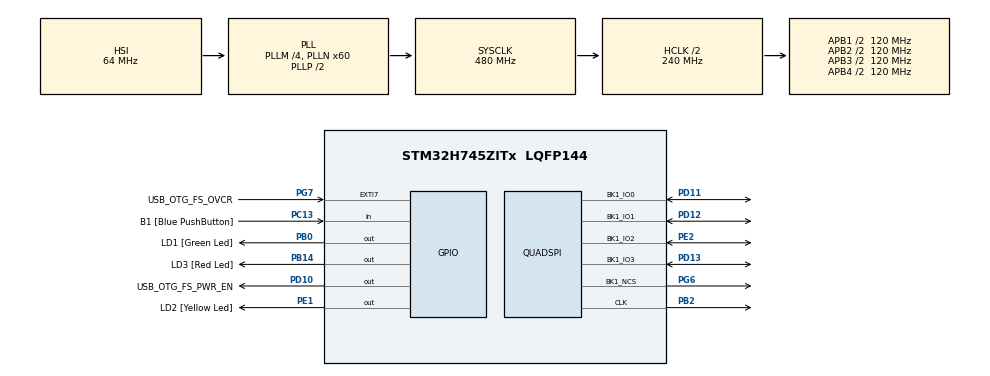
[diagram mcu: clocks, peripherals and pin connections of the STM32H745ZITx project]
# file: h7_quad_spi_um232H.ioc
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CortexM4.IPs=FATFS_M4\:I,FREERTOS_M4\:I,IWDG2\:I,RCC,WWDG2\:I,DMA,BDMA,MDMA,NVIC2\:I,USART3,ETH,DEBUG,PDM2PCM_M4\:I,PWR,RESMGR_UTILITY,SYS_M4\:I,USB_DEVICE_M4\:I,USB_HOST_M4\:I,CORTEX_M4\:I,OPENAMP_M4\:I,VREFBUF
CortexM7.IPs=FATFS_M7\:I,FREERTOS_M7\:I,IWDG1\:I,RCC\:I,WWDG1\:I,DMA\:I,BDMA\:I,MDMA\:I,NVIC1\:I,SYS\:I,USART3\:I,USB_OTG_FS\:I,ETH\:I,CORTEX_M7\:I,DEBUG\:I,PDM2PCM_M7\:I,PWR\:I,RESMGR_UTILITY\:I,USB_DEVICE_M7\:I,USB_HOST_M7\:I,OPENAMP_M7\:I,VREFBUF\:I,QUADSPI\:I
Mcu.Family=STM32H7
Mcu.Name=STM32H745ZITx
Mcu.Package=LQFP144
Mdma.MDMA_Channel0.QUADSPI_FIFO_TH.0.BlockCount=0
Mdma.MDMA_Channel0.QUADSPI_FIFO_TH.0.BlockDataLength=0
Mdma.MDMA_Channel0.QUADSPI_FIFO_TH.0.BufferTransferLength=1
Mdma.MDMA_Channel0.QUADSPI_FIFO_TH.0.CircularMode=MDMA_LINEAR_LIST
Mdma.MDMA_Channel0.QUADSPI_FIFO_TH.0.DataAlignment=MDMA_DATAALIGN_PACKENABLE
Mdma.MDMA_Channel0.QUADSPI_FIFO_TH.0.DestBlockAddressOffset=0
Mdma.MDMA_Channel0.QUADSPI_FIFO_TH.0.DestBurst=MDMA_DEST_BURST_SINGLE
Mdma.MDMA_Channel0.QUADSPI_FIFO_TH.0.DestDataSize=MDMA_DEST_DATASIZE_BYTE
Mdma.MDMA_Channel0.QUADSPI_FIFO_TH.0.DestinationInc=MDMA_DEST_INC_DISABLE
Mdma.MDMA_Channel0.QUADSPI_FIFO_TH.0.DstAddress=0
Mdma.MDMA_Channel0.QUADSPI_FIFO_TH.0.Endianness=MDMA_LITTLE_ENDIANNESS_PRESERVE
Mdma.MDMA_Channel0.QUADSPI_FIFO_TH.0.Instance=MDMA_Channel0
Mdma.MDMA_Channel0.QUADSPI_FIFO_TH.0.MaskAddress=0
Mdma.MDMA_Channel0.QUADSPI_FIFO_TH.0.MaskData=0
Mdma.MDMA_Channel0.QUADSPI_FIFO_TH.0.Priority=MDMA_PRIORITY_HIGH
Mdma.MDMA_Channel0.QUADSPI_FIFO_TH.0.Rank=First
Mdma.MDMA_Channel0.QUADSPI_FIFO_TH.0.SourceBlockAddressOffset=0
Mdma.MDMA_Channel0.QUADSPI_FIFO_TH.0.SourceBurst=MDMA_SOURCE_BURST_SINGLE
Mdma.MDMA_Channel0.QUADSPI_FIFO_TH.0.SourceDataSize=MDMA_SRC_DATASIZE_BYTE
Mdma.MDMA_Channel0.QUADSPI_FIFO_TH.0.SourceInc=MDMA_SRC_INC_BYTE
Mdma.MDMA_Channel0.QUADSPI_FIFO_TH.0.SrcAddress=0
Mdma.MDMA_Channel0.QUADSPI_FIFO_TH.0.TransferTriggerMode=MDMA_BUFFER_TRANSFER
Mdma.MDMA_Channel0.Request0=QUADSPI_FIFO_TH
Mdma.MDMA_Channel0.RequestsNb=1
Mdma.RequestSet0=MDMA_Channel0
Mdma.RequestSetsNb=1
NVIC1.MDMA_IRQn=true\:0\:0\:false\:false\:true\:false\:true
NVIC1.PriorityGroup=NVIC_PRIORITYGROUP_4
NVIC2.PriorityGroup=NVIC_PRIORITYGROUP_4
PA1.PinAttribute=CortexM7
PA1.Signal=ETH_REF_CLK
PA11.PinAttribute=CortexM7
PA11.Signal=USB_OTG_FS_DM
PA12.PinAttribute=CortexM7
PA12.Signal=USB_OTG_FS_DP
PA2.PinAttribute=CortexM7
PA2.Signal=ETH_MDIO
PA7.PinAttribute=CortexM7
PA7.Signal=ETH_CRS_DV
PA8.PinAttribute=CortexM7
PA8.Signal=USB_OTG_FS_SOF
PA9.PinAttribute=CortexM7
PA9.Signal=USB_OTG_FS_VBUS
PB0.GPIO_Label=LD1 [Green Led]
PB0.PinAttribute=Free
PB0.Signal=GPIO_Output
PB13.PinAttribute=CortexM7
PB13.Signal=ETH_TXD1
PB14.GPIO_Label=LD3 [Red Led]
PB14.PinAttribute=Free
PB14.Signal=GPIO_Output
PB2.Mode=Single Bank 1
PB2.PinAttribute=CortexM7
PB2.Signal=QUADSPI_CLK
PC1.PinAttribute=CortexM7
PC1.Signal=ETH_MDC
PC13.GPIO_Label=B1 [Blue PushButton]
PC13.PinAttribute=Free
PC13.Signal=GPIO_Input
PC14-OSC32_IN\ (OSC32_IN).Mode=LSE-External-Oscillator
PC14-OSC32_IN\ (OSC32_IN).PinAttribute=CortexM7
PC14-OSC32_IN\ (OSC32_IN).Signal=RCC_OSC32_IN
PC15-OSC32_OUT\ (OSC32_OUT).Mode=LSE-External-Oscillator
PC15-OSC32_OUT\ (OSC32_OUT).PinAttribute=CortexM7
PC15-OSC32_OUT\ (OSC32_OUT).Signal=RCC_OSC32_OUT
PC4.PinAttribute=CortexM7
PC4.Signal=ETH_RXD0
PC5.PinAttribute=CortexM7
PC5.Signal=ETH_RXD1
PD10.GPIO_Label=USB_OTG_FS_PWR_EN
PD10.PinAttribute=Free
PD10.Signal=GPIO_Output
PD11.Mode=Single Bank 1
PD11.PinAttribute=CortexM7
PD11.Signal=QUADSPI_BK1_IO0
PD12.Mode=Single Bank 1
PD12.PinAttribute=CortexM7
PD12.Signal=QUADSPI_BK1_IO1
PD13.Mode=Single Bank 1
PD13.PinAttribute=CortexM7
PD13.Signal=QUADSPI_BK1_IO3
PD8.GPIO_Label=STLINK_RX
PD8.PinAttribute=CortexM7
PD8.Signal=USART3_TX
PD9.GPIO_Label=STLINK_TX
PD9.PinAttribute=CortexM7
PD9.Signal=USART3_RX
PE1.GPIO_Label=LD2 [Yellow Led]
PE1.PinAttribute=Free
PE1.Signal=GPIO_Output
PE2.Mode=Single Bank 1
PE2.PinAttribute=CortexM7
PE2.Signal=QUADSPI_BK1_IO2
PG11.PinAttribute=CortexM7
PG11.Signal=ETH_TX_EN
PG13.PinAttribute=CortexM7
PG13.Signal=ETH_TXD0
PG6.Mode=Single Bank 1
PG6.PinAttribute=CortexM7
PG6.Signal=QUADSPI_BK1_NCS
PG7.GPIO_Label=USB_OTG_FS_OVCR
PG7.PinAttribute=Free
PG7.Signal=GPXTI7
PH0-OSC_IN\ (PH0).Mode=HSE-External-Oscillator
PH0-OSC_IN\ (PH0).PinAttribute=CortexM7
PH0-OSC_IN\ (PH0).Signal=RCC_OSC_IN
PH1-OSC_OUT\ (PH1).Mode=HSE-External-Oscillator
PH1-OSC_OUT\ (PH1).PinAttribute=CortexM7
PH1-OSC_OUT\ (PH1).Signal=RCC_OSC_OUT
ProjectManager.HeapSize=M4-0x200,M7-0x200
ProjectManager.StackSize=M4-0x400,M7-0x400
ProjectManager.TargetToolchain=STM32CubeIDE
QUADSPI.ClockMode=QSPI_CLOCK_MODE_3
QUADSPI.ClockPrescaler=7
QUADSPI.FlashSize=31
QUADSPI.SampleShifting=QSPI_SAMPLE_SHIFTING_NONE
RCC.ADCFreq_Value=129000000
RCC.APB1Freq_Value=120000000
RCC.APB2Freq_Value=120000000
RCC.APB3Freq_Value=120000000
RCC.APB4Freq_Value=120000000
RCC.CortexFreq_Value=480000000
RCC.D1PPRE=RCC_APB3_DIV2
RCC.D2PPRE1=RCC_APB1_DIV2
RCC.D2PPRE2=RCC_APB2_DIV2
RCC.D3PPRE=RCC_APB4_DIV2
RCC.DIVM1=4
RCC.DIVM3=22
RCC.DIVN1=60
RCC.DIVN3=169
RCC.DIVQ3=4
RCC.HCLKFreq_Value=240000000
RCC.HPRE=RCC_HCLK_DIV2
RCC.HSE_VALUE=25000000
RCC.PLL2FRACN=0
RCC.PLL3FRACN=0
RCC.PLLFRACN=0
RCC.PWR_Regulator_Voltage_Scale=PWR_REGULATOR_VOLTAGE_SCALE0
RCC.SYSCLKFreq_VALUE=480000000
RCC.SYSCLKSource=RCC_SYSCLKSOURCE_PLLCLK
RCC.SupplySource=PWR_DIRECT_SMPS_SUPPLY
RCC.USBCLockSelection=RCC_USBCLKSOURCE_PLL3
RCC.USBFreq_Value=122909090.9090909
VP_SYS_M4_VS_Systick.Mode=SysTick
board=NUCLEO-H745ZI-Q

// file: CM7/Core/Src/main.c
/* USER CODE BEGIN Header */
/**
  ******************************************************************************
  * @file           : main.c
  * @brief          : Main program body
  ******************************************************************************
  * @attention
  *
  * Copyright (c) 2022 STMicroelectronics.
  * All rights reserved.
  *
  * This software is licensed under terms that can be found in the LICENSE file
  * in the root directory of this software component.
  * If no LICENSE file comes with this software, it is provided AS-IS.
  *
  ******************************************************************************
  */
/* USER CODE END Header */
#include "main.h"

/* USER CODE BEGIN Includes */
#include "string.h"
/* USER CODE END Includes */

/* USER CODE BEGIN PD */

#ifndef HSEM_ID_0
#define HSEM_ID_0 (0U) /* HW semaphore 0*/
#endif
/* USER CODE END PD */

/* USER CODE BEGIN PM */
#define FT1248_WRITE_COMMAND 0U
/* USER CODE END PM */

QSPI_HandleTypeDef hqspi;
MDMA_HandleTypeDef hmdma_quadspi_fifo_th;

void SystemClock_Config(void);
static void MX_GPIO_Init(void);
static void MX_QUADSPI_Init(void);
static void MX_MDMA_Init(void);

int main(void)
{
/* USER CODE BEGIN Boot_Mode_Sequence_0 */
  int32_t timeout;
/* USER CODE END Boot_Mode_Sequence_0 */

/* USER CODE BEGIN Boot_Mode_Sequence_1 */
  /* Wait until CPU2 boots and enters in stop mode or timeout*/
  timeout = 0xFFFF;
  while((__HAL_RCC_GET_FLAG(RCC_FLAG_D2CKRDY) != RESET) && (timeout-- > 0));
  if ( timeout < 0 )
  {
  Error_Handler();
  }
/* USER CODE END Boot_Mode_Sequence_1 */
  /* MCU Configuration--------------------------------------------------------*/

  /* Reset of all peripherals, Initializes the Flash interface and the Systick. */
  HAL_Init();

  /* Configure the system clock */
  SystemClock_Config();
/* USER CODE BEGIN Boot_Mode_Sequence_2 */
	/* When system initialization is finished, Cortex-M7 will release Cortex-M4 by means of
	HSEM notification */
	/*HW semaphore Clock enable*/
	__HAL_RCC_HSEM_CLK_ENABLE();
	/*Take HSEM */
	HAL_HSEM_FastTake(HSEM_ID_0);
	/*Release HSEM in order to notify the CPU2(CM4)*/
	HAL_HSEM_Release(HSEM_ID_0,0);
	/* wait until CPU2 wakes up from stop mode */
	timeout = 0xFFFF;
	while((__HAL_RCC_GET_FLAG(RCC_FLAG_D2CKRDY) == RESET) && (timeout-- > 0));
	if ( timeout < 0 )
	{
	Error_Handler();
	}
/* USER CODE END Boot_Mode_Sequence_2 */

  /* Initialize all configured peripherals */
  MX_GPIO_Init();
  MX_QUADSPI_Init();
  MX_MDMA_Init();

  /* Infinite loop */
  /* USER CODE BEGIN WHILE */

  uint8_t i = 0;
  uint8_t buf[0xFF+1];
  for (i=0; i<(0xff+1); i++) {
  	  buf[i] = i;
  	  if (i==0xff)
  		  break;
  }
  i = 0;

  uint32_t buf32[64];
  for (i = 0; i < (0xFF+1)/4; i++){
	  memcpy(&buf32[i], &buf[i*4], 4);
	  //buf32[i] = 0x01020304;
	  //buf32[i] = buf[i] | (buf[i+1] << 4) | (buf[i+2] << 8) | (buf[i+3] << 12);
  }
  uint8_t count = 0;

  while (1)
	{

	  // QUADSPI USAGE: Page 937/3528 Reference manual
	  // 1.Nr Byte to write
	  // \0xFFFFFFFF means undefined length, go on forever.
	  QUADSPI->DLR = 0xFFFFFFFF; // Determines how many bytes to send in one command sequence. That is, how big the data sequence is.

	  // Frame format, mode and instruction code
	  // Defaults are already Indirect write mode(called FMODE), instruciton on every transaction and SDR.
	  // Four lines for data and instructions. Use one dummy cycle. Instruction we want to send is 0x0.
	  QUADSPI->CCR = QUADSPI_CCR_DMODE_1 | QUADSPI_CCR_DMODE_0 | QUADSPI_CCR_IMODE_0 | QUADSPI_CCR_IMODE_1 | (QUADSPI_CCR_DCYC_0);
	  // 3. skipped
	  // 4. CR Configuration
	  // Clock prescaler to 7 to get frequency to 240/8 = 30 MHz. FIFO threshold set to 4.

	  QUADSPI->CR = QUADSPI_CR_EN | (8 << QUADSPI_CR_PRESCALER_Pos) | (3 << QUADSPI_CR_FTHRES_Pos);
	  // Spi is busy until whole FIFO queue is empty and the requested command sequence is completed.
	  // So if you say you send 20 bytes but only have sent 10 and fifo is empty then it is stuck busy waiting for you to
	  // fill the fifo buffer. So I guess with an infinite data langth it will always be busy.
	  // There is a manual ABORT pin to cancel however.

	  //     MANUAL WITH DMA
/*

	  if ((MDMA_Channel0->CCR & MDMA_CCR_EN_Msk) == 1) {
		  while((MDMA_Channel0->CISR & MDMA_CISR_CTCIF_Msk) == 0) {};
		  MDMA_Channel0->CCR &= ~MDMA_CCR_EN;
	  }
	  // Lets try Buffer transfere. 4 Byte Buffer transfer length.
	  // Should probably set number of bytes to send
	  //MDMA_Channel0->CTCR = (3 << MDMA_CTCR_TLEN_Pos);
	  MDMA_Channel0->CSAR = (uint32_t) &buf;
	  MDMA_Channel0->CDAR = (uint32_t) &QUADSPI->DR;
	  MDMA_Channel0->CCR |= MDMA_CCR_EN;
	  QUADSPI->DR = 0;
	  while (1) {
		  while ((MDMA_Channel0->CCR & MDMA_CCR_EN_Msk) == 1) {};
		  MDMA_Channel0->CSAR = (uint32_t) &buf;
		  MDMA_Channel0->CCR |= MDMA_CCR_EN;
	  }

*/

	  //      MANUAL WITHOUT DMA

	  uint32_t writeVal = 0x2a2a2a2a;
	  //5. Target address
	  //QUADSPI->AR = ... We don't send a messsage with address
	  while (1) {
		  // Wait until 4 bytes is free in FIFO buffer.
		  while ((QUADSPI->SR & QUADSPI_SR_FTF_Msk) == 0) {};

		  QUADSPI->DR = buf32[count];
		  count += 1;
		  if (count == 64)
			  count = 0;

	  }

		// HAL no DMA

	  /*
		QSPI_CommandTypeDef sCommand;
		sCommand.InstructionMode = QSPI_INSTRUCTION_4_LINES;
		sCommand.Instruction = FT1248_WRITE_COMMAND; // Write instruction
		sCommand.AddressSize = QSPI_ADDRESS_NONE;
		sCommand.AlternateByteMode = QSPI_ALTERNATE_BYTES_NONE;
		sCommand.DdrMode = QSPI_DDR_MODE_DISABLE;
		sCommand.DdrHoldHalfCycle = QSPI_DDR_HHC_ANALOG_DELAY;
		sCommand.SIOOMode = QSPI_SIOO_INST_EVERY_CMD;
		sCommand.AddressMode = QSPI_ADDRESS_NONE;
		sCommand.DataMode = QSPI_DATA_4_LINES;
		sCommand.NbData = 250;
		sCommand.Address = 0;
		sCommand.DummyCycles = 1;
		uint8_t error = 0;
		error = HAL_QSPI_Command(&hqspi, &sCommand, 100);
		//HAL_Delay(1000);
		error = HAL_QSPI_Transmit(&hqspi, buf, 100);
		//HAL_Delay(1000);
		error = HAL_QSPI_GetError(&hqspi);
		*/
	}
    /* USER CODE END WHILE */

}

void SystemClock_Config(void)
{
  RCC_OscInitTypeDef RCC_OscInitStruct = {0};
  RCC_ClkInitTypeDef RCC_ClkInitStruct = {0};

  /** Supply configuration update enable
  */
  HAL_PWREx_ConfigSupply(PWR_DIRECT_SMPS_SUPPLY);
  /** Configure the main internal regulator output voltage
  */
  __HAL_PWR_VOLTAGESCALING_CONFIG(PWR_REGULATOR_VOLTAGE_SCALE0);

  while(!__HAL_PWR_GET_FLAG(PWR_FLAG_VOSRDY)) {}
  /** Initializes the RCC Oscillators according to the specified parameters
  * in the RCC_OscInitTypeDef structure.
  */
  RCC_OscInitStruct.OscillatorType = RCC_OSCILLATORTYPE_HSI;
  RCC_OscInitStruct.HSIState = RCC_HSI_DIV1;
  RCC_OscInitStruct.HSICalibrationValue = RCC_HSICALIBRATION_DEFAULT;
  RCC_OscInitStruct.PLL.PLLState = RCC_PLL_ON;
  RCC_OscInitStruct.PLL.PLLSource = RCC_PLLSOURCE_HSI;
  RCC_OscInitStruct.PLL.PLLM = 4;
  RCC_OscInitStruct.PLL.PLLN = 60;
  RCC_OscInitStruct.PLL.PLLP = 2;
  RCC_OscInitStruct.PLL.PLLQ = 2;
  RCC_OscInitStruct.PLL.PLLR = 2;
  RCC_OscInitStruct.PLL.PLLRGE = RCC_PLL1VCIRANGE_3;
  RCC_OscInitStruct.PLL.PLLVCOSEL = RCC_PLL1VCOWIDE;
  RCC_OscInitStruct.PLL.PLLFRACN = 0;
  if (HAL_RCC_OscConfig(&RCC_OscInitStruct) != HAL_OK)
  {
    Error_Handler();
  }
  /** Initializes the CPU, AHB and APB buses clocks
  */
  RCC_ClkInitStruct.ClockType = RCC_CLOCKTYPE_HCLK|RCC_CLOCKTYPE_SYSCLK
                              |RCC_CLOCKTYPE_PCLK1|RCC_CLOCKTYPE_PCLK2
                              |RCC_CLOCKTYPE_D3PCLK1|RCC_CLOCKTYPE_D1PCLK1;
  RCC_ClkInitStruct.SYSCLKSource = RCC_SYSCLKSOURCE_PLLCLK;
  RCC_ClkInitStruct.SYSCLKDivider = RCC_SYSCLK_DIV1;
  RCC_ClkInitStruct.AHBCLKDivider = RCC_HCLK_DIV2;
  RCC_ClkInitStruct.APB3CLKDivider = RCC_APB3_DIV2;
  RCC_ClkInitStruct.APB1CLKDivider = RCC_APB1_DIV2;
  RCC_ClkInitStruct.APB2CLKDivider = RCC_APB2_DIV2;
  RCC_ClkInitStruct.APB4CLKDivider = RCC_APB4_DIV2;

  if (HAL_RCC_ClockConfig(&RCC_ClkInitStruct, FLASH_LATENCY_4) != HAL_OK)
  {
    Error_Handler();
  }
}

static void MX_QUADSPI_Init(void)
{

  /* QUADSPI parameter configuration*/
  hqspi.Instance = QUADSPI;
  hqspi.Init.ClockPrescaler = 7;
  hqspi.Init.FifoThreshold = 1;
  hqspi.Init.SampleShifting = QSPI_SAMPLE_SHIFTING_NONE;
  hqspi.Init.FlashSize = 31;
  hqspi.Init.ChipSelectHighTime = QSPI_CS_HIGH_TIME_1_CYCLE;
  hqspi.Init.ClockMode = QSPI_CLOCK_MODE_3;
  hqspi.Init.FlashID = QSPI_FLASH_ID_1;
  hqspi.Init.DualFlash = QSPI_DUALFLASH_DISABLE;
  if (HAL_QSPI_Init(&hqspi) != HAL_OK)
  {
    Error_Handler();
  }

}

/**
  * Enable MDMA controller clock
  */
static void MX_MDMA_Init(void)
{

  /* MDMA controller clock enable */
  __HAL_RCC_MDMA_CLK_ENABLE();
  /* Local variables */

  /* MDMA interrupt initialization */
  /* MDMA_IRQn interrupt configuration */
  //HAL_NVIC_SetPriority(MDMA_IRQn, 0, 0);
  //HAL_NVIC_EnableIRQ(MDMA_IRQn);

}

static void MX_GPIO_Init(void)
{
  GPIO_InitTypeDef GPIO_InitStruct = {0};

  /* GPIO Ports Clock Enable */
  __HAL_RCC_GPIOE_CLK_ENABLE();
  __HAL_RCC_GPIOC_CLK_ENABLE();
  __HAL_RCC_GPIOH_CLK_ENABLE();
  __HAL_RCC_GPIOA_CLK_ENABLE();
  __HAL_RCC_GPIOB_CLK_ENABLE();
  __HAL_RCC_GPIOD_CLK_ENABLE();
  __HAL_RCC_GPIOG_CLK_ENABLE();

  /*Configure GPIO pins : PC1 PC4 PC5 */
  GPIO_InitStruct.Pin = GPIO_PIN_1|GPIO_PIN_4|GPIO_PIN_5;
  GPIO_InitStruct.Mode = GPIO_MODE_AF_PP;
  GPIO_InitStruct.Pull = GPIO_NOPULL;
  GPIO_InitStruct.Speed = GPIO_SPEED_FREQ_LOW;
  GPIO_InitStruct.Alternate = GPIO_AF11_ETH;
  HAL_GPIO_Init(GPIOC, &GPIO_InitStruct);

  /*Configure GPIO pins : PA1 PA2 PA7 */
  GPIO_InitStruct.Pin = GPIO_PIN_1|GPIO_PIN_2|GPIO_PIN_7;
  GPIO_InitStruct.Mode = GPIO_MODE_AF_PP;
  GPIO_InitStruct.Pull = GPIO_NOPULL;
  GPIO_InitStruct.Speed = GPIO_SPEED_FREQ_LOW;
  GPIO_InitStruct.Alternate = GPIO_AF11_ETH;
  HAL_GPIO_Init(GPIOA, &GPIO_InitStruct);

  /*Configure GPIO pin : PB13 */
  GPIO_InitStruct.Pin = GPIO_PIN_13;
  GPIO_InitStruct.Mode = GPIO_MODE_AF_PP;
  GPIO_InitStruct.Pull = GPIO_NOPULL;
  GPIO_InitStruct.Speed = GPIO_SPEED_FREQ_LOW;
  GPIO_InitStruct.Alternate = GPIO_AF11_ETH;
  HAL_GPIO_Init(GPIOB, &GPIO_InitStruct);

  /*Configure GPIO pins : PD8 PD9 */
  GPIO_InitStruct.Pin = GPIO_PIN_8|GPIO_PIN_9;
  GPIO_InitStruct.Mode = GPIO_MODE_AF_PP;
  GPIO_InitStruct.Pull = GPIO_NOPULL;
  GPIO_InitStruct.Speed = GPIO_SPEED_FREQ_LOW;
  GPIO_InitStruct.Alternate = GPIO_AF7_USART3;
  HAL_GPIO_Init(GPIOD, &GPIO_InitStruct);

  /*Configure GPIO pins : PA8 PA11 PA12 */
  GPIO_InitStruct.Pin = GPIO_PIN_8|GPIO_PIN_11|GPIO_PIN_12;
  GPIO_InitStruct.Mode = GPIO_MODE_AF_PP;
  GPIO_InitStruct.Pull = GPIO_NOPULL;
  GPIO_InitStruct.Speed = GPIO_SPEED_FREQ_LOW;
  GPIO_InitStruct.Alternate = GPIO_AF10_OTG1_FS;
  HAL_GPIO_Init(GPIOA, &GPIO_InitStruct);

  /*Configure GPIO pins : PG11 PG13 */
  GPIO_InitStruct.Pin = GPIO_PIN_11|GPIO_PIN_13;
  GPIO_InitStruct.Mode = GPIO_MODE_AF_PP;
  GPIO_InitStruct.Pull = GPIO_NOPULL;
  GPIO_InitStruct.Speed = GPIO_SPEED_FREQ_LOW;
  GPIO_InitStruct.Alternate = GPIO_AF11_ETH;
  HAL_GPIO_Init(GPIOG, &GPIO_InitStruct);

}

void Error_Handler(void)
{
  __disable_irq();
  while (1)
  {
  }
}
